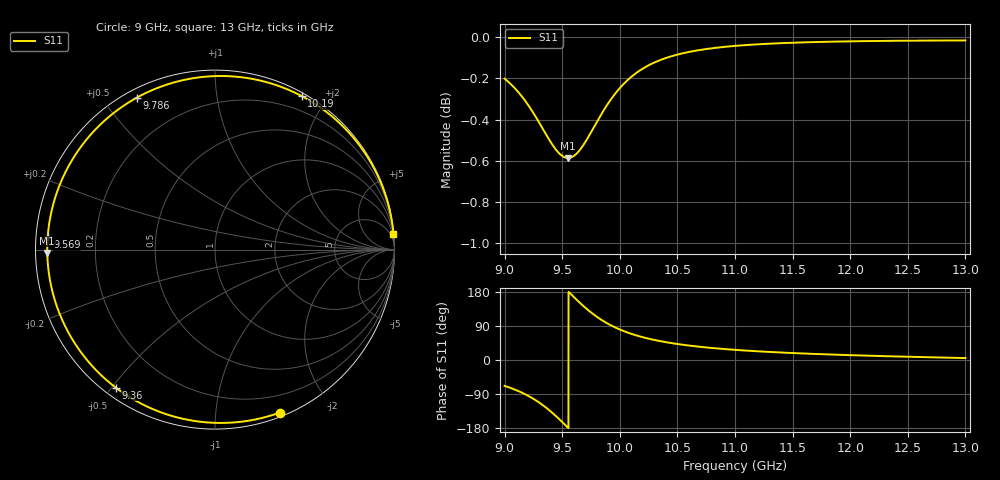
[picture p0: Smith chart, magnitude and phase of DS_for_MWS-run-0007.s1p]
! TOUCHSTONE file generated by CST DESIGN STUDIO
! Date and time: Tue Feb  4 12:56:10 2025
! Project name: C:\Work\MatlabApps\UnitCellOptimizationMatlab\CST\unitcell.cst
! Tree item: Tasks\Sweep1\SPara1\S-Parameters
! Header version: 2024
! Port assignment regex: !\s*Touchstone port\s*([0-9]+)\s*=\s*(CST MWS port|CST DES external port|CST DES block port)\s*(.+)\s* \(\"(.*)\"\)(\s*mode\s*([0-9]+))?.*
! Touchstone port assignment:
! Touchstone port 1 = CST DES external port 1 ("")
# GHz S MA R 50
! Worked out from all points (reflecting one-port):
!   4001 points, 9 GHz to 13 GHz, reference 50 ohm
!   lowest |S11| = -0.6 dB at 9.551 GHz (marker M1), VSWR 29.62, Z = 1.69 - j0.488 ohm
!   phase of S11 starts at -68 deg and turns -287 deg over the sweep
!   S11 on the Smith chart (normalised r, x): 9 GHz: 0.04, -1.47; 9.36 GHz: 0.03, -0.51; 9.569 GHz: 0.03, +0.04; 9.786 GHz: 0.03, +0.61; 10.19 GHz: 0.03, +1.71; 13 GHz: 0, +22
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9  0.9771 -68.3
9.103  0.9709 -79.8
9.214  0.9619 -96.1
9.291  0.9543 -110.4
9.36  0.9471 -125.8
9.427  0.9406 -142.9
9.465  0.9377 -153.5
9.5  0.9358 -163.6
9.551  0.9347 -178.9
9.569  0.9348 175.7
9.624  0.9369 159.3
9.684  0.9415 142.4
9.735  0.9466 129.2
9.786  0.9521 117.2
9.832  0.9571 107.6
9.881  0.962 98.4
9.936  0.967 89.4
10  0.972 80.5
10.093  0.9777 69.7
10.194  0.9824 60.5
10.334  0.9869 50.7
10.5  0.9904 42.2
10.721  0.9932 34.0
11  0.9952 26.8
11.5  0.997 18.3
12  0.9977 12.8
12.5  0.9981 8.6
13  0.9982 5.1
